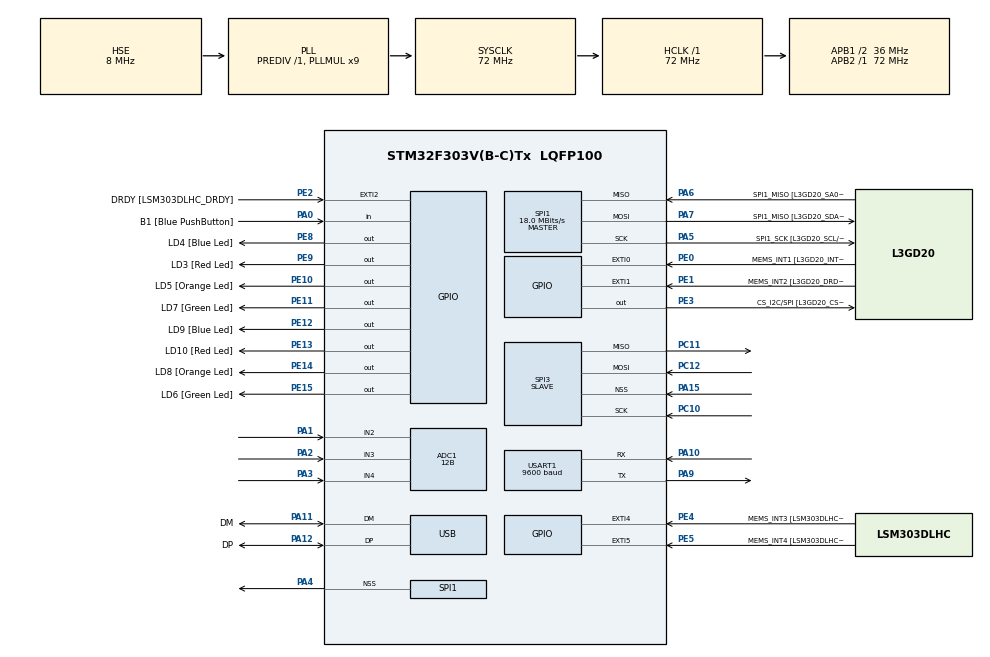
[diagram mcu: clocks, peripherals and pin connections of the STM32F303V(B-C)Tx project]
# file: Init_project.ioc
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ADC1.Channel-0\#ChannelRegularConversion=ADC_CHANNEL_2
ADC1.Channel-1\#ChannelRegularConversion=ADC_CHANNEL_3
ADC1.Channel-2\#ChannelRegularConversion=ADC_CHANNEL_4
ADC1.ClockPrescaler=ADC_CLOCK_ASYNC_DIV1
ADC1.ContinuousConvMode=DISABLE
ADC1.DMAContinuousRequests=DISABLE
ADC1.DataAlign=ADC_DATAALIGN_RIGHT
ADC1.DiscontinuousConvMode=DISABLE
ADC1.EOCSelection=ADC_EOC_SINGLE_CONV
ADC1.EnableAnalogWatchDog1=false
ADC1.EnableAnalogWatchDog2=false
ADC1.EnableAnalogWatchDog3=false
ADC1.EnableInjectedConversion=ENABLE
ADC1.EnableRegularConversion=ENABLE
ADC1.ExternalTrigConv=ADC_SOFTWARE_START
ADC1.ExternalTrigConvEdge=ADC_EXTERNALTRIGCONVEDGE_NONE
ADC1.InjNumberOfConversion=0
ADC1.LowPowerAutoWait=DISABLE
ADC1.NbrOfConversion=3
ADC1.NbrOfConversionFlag=1
ADC1.Offset-0\#ChannelRegularConversion=0
ADC1.Offset-1\#ChannelRegularConversion=0
ADC1.Offset-2\#ChannelRegularConversion=0
ADC1.OffsetNumber-0\#ChannelRegularConversion=ADC_OFFSET_NONE
ADC1.OffsetNumber-1\#ChannelRegularConversion=ADC_OFFSET_NONE
ADC1.OffsetNumber-2\#ChannelRegularConversion=ADC_OFFSET_NONE
ADC1.Overrun=ADC_OVR_DATA_OVERWRITTEN
ADC1.Rank-0\#ChannelRegularConversion=1
ADC1.Rank-1\#ChannelRegularConversion=2
ADC1.Rank-2\#ChannelRegularConversion=3
ADC1.Resolution=ADC_RESOLUTION_12B
ADC1.SamplingTime-0\#ChannelRegularConversion=ADC_SAMPLETIME_1CYCLE_5
ADC1.SamplingTime-1\#ChannelRegularConversion=ADC_SAMPLETIME_1CYCLE_5
ADC1.SamplingTime-2\#ChannelRegularConversion=ADC_SAMPLETIME_1CYCLE_5
ADC1.ScanConvMode=ADC_SCAN_ENABLE
ADC1.master=1
Dma.ADC1.2.Direction=DMA_PERIPH_TO_MEMORY
Dma.ADC1.2.Instance=DMA1_Channel1
Dma.ADC1.2.MemDataAlignment=DMA_MDATAALIGN_WORD
Dma.ADC1.2.MemInc=DMA_MINC_ENABLE
Dma.ADC1.2.Mode=DMA_CIRCULAR
Dma.ADC1.2.PeriphDataAlignment=DMA_PDATAALIGN_WORD
Dma.ADC1.2.PeriphInc=DMA_PINC_DISABLE
Dma.ADC1.2.Priority=DMA_PRIORITY_MEDIUM
Dma.Request0=USART1_TX
Dma.Request1=USART1_RX
Dma.Request2=ADC1
Dma.USART1_RX.1.Direction=DMA_PERIPH_TO_MEMORY
Dma.USART1_RX.1.Instance=DMA1_Channel5
Dma.USART1_RX.1.MemDataAlignment=DMA_MDATAALIGN_BYTE
Dma.USART1_RX.1.MemInc=DMA_MINC_ENABLE
Dma.USART1_RX.1.Mode=DMA_NORMAL
Dma.USART1_RX.1.PeriphDataAlignment=DMA_PDATAALIGN_BYTE
Dma.USART1_RX.1.PeriphInc=DMA_PINC_DISABLE
Dma.USART1_RX.1.Priority=DMA_PRIORITY_LOW
Dma.USART1_TX.0.Direction=DMA_MEMORY_TO_PERIPH
Dma.USART1_TX.0.Instance=DMA1_Channel4
Dma.USART1_TX.0.MemDataAlignment=DMA_MDATAALIGN_BYTE
Dma.USART1_TX.0.MemInc=DMA_MINC_ENABLE
Dma.USART1_TX.0.Mode=DMA_NORMAL
Dma.USART1_TX.0.PeriphDataAlignment=DMA_PDATAALIGN_BYTE
Dma.USART1_TX.0.PeriphInc=DMA_PINC_DISABLE
Dma.USART1_TX.0.Priority=DMA_PRIORITY_LOW
Mcu.Family=STM32F3
Mcu.Name=STM32F303V(B-C)Tx
Mcu.Package=LQFP100
NVIC.ADC1_2_IRQn=true\:0\:0\:false\:false\:true\:true
NVIC.DMA1_Channel1_IRQn=true\:0\:0\:false\:false\:true\:false
NVIC.DMA1_Channel4_IRQn=true\:0\:0\:false\:false\:true\:false
NVIC.DMA1_Channel5_IRQn=true\:0\:0\:false\:false\:true\:false
NVIC.PriorityGroup=NVIC_PRIORITYGROUP_4
NVIC.SPI1_IRQn=true\:0\:0\:false\:false\:true\:true
NVIC.SPI3_IRQn=true\:0\:0\:false\:false\:true\:true
NVIC.TIM2_IRQn=true\:0\:0\:false\:false\:true\:false
NVIC.TimeBase=TIM2_IRQn
NVIC.TimeBaseIP=TIM2
NVIC.USART1_IRQn=true\:0\:0\:false\:false\:true\:true
PA0.GPIO_Label=B1 [Blue PushButton]
PA0.Signal=GPIO_Input
PA1.Mode=IN2-Single-Ended
PA1.Signal=ADC1_IN2
PA10.Mode=Asynchronous
PA10.Signal=USART1_RX
PA11.GPIO_Label=DM
PA11.Mode=Device
PA11.Signal=USB_DM
PA12.GPIO_Label=DP
PA12.Mode=Device
PA12.Signal=USB_DP
PA13.GPIO_Label=SWDIO
PA13.Mode=Serial_Wire
PA13.Signal=SYS_JTMS-SWDIO
PA14.GPIO_Label=SWCLK
PA14.Mode=Serial_Wire
PA14.Signal=SYS_JTCK-SWCLK
PA15.Mode=NSS_Signal_Hard_Input
PA15.Signal=SPI3_NSS
PA2.Mode=IN3-Single-Ended
PA2.Signal=ADC1_IN3
PA3.Mode=IN4-Single-Ended
PA3.Signal=ADC1_IN4
PA4.Mode=NSS_Signal_Hard_Output
PA4.Signal=SPI1_NSS
PA5.GPIO_Label=SPI1_SCK [L3GD20_SCL/SPC]
PA5.Mode=Full_Duplex_Master
PA5.Signal=SPI1_SCK
PA6.GPIO_Label=SPI1_MISO [L3GD20_SA0/SDO]
PA6.Mode=Full_Duplex_Master
PA6.Signal=SPI1_MISO
PA7.GPIO_Label=SPI1_MISO [L3GD20_SDA/SDI/SDO]
PA7.Mode=Full_Duplex_Master
PA7.Signal=SPI1_MOSI
PA9.Mode=Asynchronous
PA9.Signal=USART1_TX
PB3.GPIO_Label=SWO
PB3.Signal=SYS_JTDO-TRACESWO
PC10.Mode=Full_Duplex_Slave
PC10.Signal=SPI3_SCK
PC11.Mode=Full_Duplex_Slave
PC11.Signal=SPI3_MISO
PC12.Mode=Full_Duplex_Slave
PC12.Signal=SPI3_MOSI
PC14-OSC32_IN.GPIO_Label=OSC32_IN
PC14-OSC32_IN.Signal=RCC_OSC32_IN
PC15-OSC32_OUT.GPIO_Label=OSC32_OUT
PC15-OSC32_OUT.Signal=RCC_OSC32_OUT
PE0.GPIO_Label=MEMS_INT1 [L3GD20_INT1]
PE0.GPIO_ModeDefaultEXTI=GPIO_MODE_EVT_RISING
PE0.Signal=GPXTI0
PE1.GPIO_Label=MEMS_INT2 [L3GD20_DRDY/INT2]
PE1.GPIO_ModeDefaultEXTI=GPIO_MODE_EVT_RISING
PE1.Signal=GPXTI1
PE10.GPIO_Label=LD5 [Orange Led]
PE10.Signal=GPIO_Output
PE11.GPIO_Label=LD7 [Green Led]
PE11.Signal=GPIO_Output
PE12.GPIO_Label=LD9 [Blue Led]
PE12.Signal=GPIO_Output
PE13.GPIO_Label=LD10 [Red Led]
PE13.Signal=GPIO_Output
PE14.GPIO_Label=LD8 [Orange Led]
PE14.Signal=GPIO_Output
PE15.GPIO_Label=LD6 [Green Led]
PE15.Signal=GPIO_Output
PE2.GPIO_Label=DRDY [LSM303DLHC_DRDY]
PE2.GPIO_ModeDefaultEXTI=GPIO_MODE_EVT_RISING
PE2.Signal=GPXTI2
PE3.GPIO_Label=CS_I2C/SPI [L3GD20_CS_I2C/SPI]
PE3.Signal=GPIO_Output
PE4.GPIO_Label=MEMS_INT3 [LSM303DLHC_INT1]
PE4.GPIO_ModeDefaultEXTI=GPIO_MODE_EVT_RISING
PE4.Signal=GPXTI4
PE5.GPIO_Label=MEMS_INT4 [LSM303DLHC_INT2]
PE5.GPIO_ModeDefaultEXTI=GPIO_MODE_EVT_RISING
PE5.Signal=GPXTI5
PE8.GPIO_Label=LD4 [Blue Led]
PE8.Signal=GPIO_Output
PE9.GPIO_Label=LD3 [Red Led]
PE9.Signal=GPIO_Output
PF0-OSC_IN.GPIO_Label=OSC_IN
PF0-OSC_IN.Mode=HSE-External-Clock-Source
PF0-OSC_IN.Signal=RCC_OSC_IN
PF1-OSC_OUT.GPIO_Label=OSC_OUT
PF1-OSC_OUT.Signal=RCC_OSC_OUT
ProjectManager.HeapSize=0x2000
ProjectManager.StackSize=0x4000
ProjectManager.TargetToolchain=MDK-ARM V5
RCC.AHBFreq_Value=72000000
RCC.APB1CLKDivider=RCC_HCLK_DIV2
RCC.APB1Freq_Value=36000000
RCC.APB1TimFreq_Value=72000000
RCC.APB2Freq_Value=72000000
RCC.APB2TimFreq_Value=72000000
RCC.CortexFreq_Value=72000000
RCC.HCLKFreq_Value=72000000
RCC.HSE_VALUE=8000000
RCC.HSI_VALUE=8000000
RCC.LSE_VALUE=32768
RCC.PLLMUL=RCC_PLL_MUL9
RCC.PRESCALERUSB=RCC_USBCLKSOURCE_PLL_DIV1_5
RCC.SYSCLKFreq_VALUE=72000000
RCC.SYSCLKSourceVirtual=RCC_SYSCLKSOURCE_PLLCLK
RCC.USBFreq_Value=48000000
SPI1.BaudRatePrescaler=SPI_BAUDRATEPRESCALER_4
SPI1.CalculateBaudRate=18.0 MBits/s
SPI1.Direction=SPI_DIRECTION_2LINES
SPI1.Mode=SPI_MODE_MASTER
SPI1.VirtualNSS=VM_NSSHARD
SPI1.VirtualType=VM_MASTER
SPI3.Direction=SPI_DIRECTION_2LINES
SPI3.Mode=SPI_MODE_SLAVE
SPI3.VirtualNSS=VM_NSSHARD
SPI3.VirtualType=VM_SLAVE
USART1.BaudRate=9600
USART1.VirtualMode-Asynchronous=VM_ASYNC
VP_SYS_VS_tim2.Mode=TIM2
board=STM32F3DISCOVERY

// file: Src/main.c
/**
  ******************************************************************************
  * @file           : main.c
  * @brief          : Main program body
  ******************************************************************************
  ** This notice applies to any and all portions of this file
  * that are not between comment pairs USER CODE BEGIN and
  * USER CODE END. Other portions of this file, whether
  * inserted by the user or by software development tools
  * are owned by their respective copyright owners.
  *
  * COPYRIGHT(c) 2018 STMicroelectronics
  *
  * Redistribution and use in source and binary forms, with or without modification,
  * are permitted provided that the following conditions are met:
  *   1. Redistributions of source code must retain the above copyright notice,
  *      this list of conditions and the following disclaimer.
  *   2. Redistributions in binary form must reproduce the above copyright notice,
  *      this list of conditions and the following disclaimer in the documentation
  *      and/or other materials provided with the distribution.
  *   3. Neither the name of STMicroelectronics nor the names of its contributors
  *      may be used to endorse or promote products derived from this software
  *      without specific prior written permission.
  *
  * THIS SOFTWARE IS PROVIDED BY THE COPYRIGHT HOLDERS AND CONTRIBUTORS "AS IS"
  * AND ANY EXPRESS OR IMPLIED WARRANTIES, INCLUDING, BUT NOT LIMITED TO, THE
  * IMPLIED WARRANTIES OF MERCHANTABILITY AND FITNESS FOR A PARTICULAR PURPOSE ARE
  * DISCLAIMED. IN NO EVENT SHALL THE COPYRIGHT HOLDER OR CONTRIBUTORS BE LIABLE
  * FOR ANY DIRECT, INDIRECT, INCIDENTAL, SPECIAL, EXEMPLARY, OR CONSEQUENTIAL
  * DAMAGES (INCLUDING, BUT NOT LIMITED TO, PROCUREMENT OF SUBSTITUTE GOODS OR
  * SERVICES; LOSS OF USE, DATA, OR PROFITS; OR BUSINESS INTERRUPTION) HOWEVER
  * CAUSED AND ON ANY THEORY OF LIABILITY, WHETHER IN CONTRACT, STRICT LIABILITY,
  * OR TORT (INCLUDING NEGLIGENCE OR OTHERWISE) ARISING IN ANY WAY OUT OF THE USE
  * OF THIS SOFTWARE, EVEN IF ADVISED OF THE POSSIBILITY OF SUCH DAMAGE.
  *
  ******************************************************************************
  */
#include "main.h"
#include "stm32f3xx_hal.h"

ADC_HandleTypeDef hadc1;
DMA_HandleTypeDef hdma_adc1;

SPI_HandleTypeDef hspi1;
SPI_HandleTypeDef hspi3;

UART_HandleTypeDef huart1;
DMA_HandleTypeDef hdma_usart1_tx;
DMA_HandleTypeDef hdma_usart1_rx;

PCD_HandleTypeDef hpcd_USB_FS;

/* USER CODE BEGIN PV */

/* Private variables ---------------------------------------------------------*/
#define str_length 			10
#define number_of_ADC_channels 3
#define set_SS_SPI3() 		HAL_GPIO_WritePin(GPIOA, GPIO_PIN_15, GPIO_PIN_RESET)
#define reset_SS_SPI3() 	HAL_GPIO_WritePin(GPIOA, GPIO_PIN_15, GPIO_PIN_SET)

uint8_t dataTx[str_length] = {10, 11, 12, 13, 14, 15, 16, 17, 18, 19};
uint8_t dataRx[str_length] = {0};
volatile uint32_t adc_data[number_of_ADC_channels] = {0};
volatile float adc_value[number_of_ADC_channels] = {0};
/* USER CODE END PV */

void SystemClock_Config(void);
static void MX_GPIO_Init(void);
static void MX_DMA_Init(void);
static void MX_SPI1_Init(void);
static void MX_USB_PCD_Init(void);
static void MX_USART1_UART_Init(void);
static void MX_SPI3_Init(void);
static void MX_ADC1_Init(void);

/* USER CODE BEGIN PFP */
/* Private function prototypes -----------------------------------------------*/

/* USER CODE END PFP */

int main(void)
{
  /* USER CODE BEGIN 1 */
	char  str[str_length] = {0};
  /* USER CODE END 1 */

  /* MCU Configuration----------------------------------------------------------*/

  /* Reset of all peripherals, Initializes the Flash interface and the Systick. */
  HAL_Init();

  /* Configure the system clock */
  SystemClock_Config();

  /* Initialize all configured peripherals */
  MX_GPIO_Init();
  MX_DMA_Init();
  MX_SPI1_Init();
  MX_USB_PCD_Init();
  MX_USART1_UART_Init();
  MX_SPI3_Init();
  MX_ADC1_Init();

  /* Infinite loop */
  /* USER CODE BEGIN WHILE */
	HAL_ADC_Start_DMA(&hadc1,(uint32_t*)&adc_data,3);  // Start and take value from ADC using DMA
	while (1)
  {

//		HAL_ADC_Start(&hadc1);		// start of analog-digital-conversion
//		HAL_ADC_PollForConversion(&hadc1, 100); // waiting for the ADC to complete
//		adc_value = (float)(HAL_ADC_GetValue(&hadc1)) * 3 / 4096; // take value from ADC and calculate 3V / 4096 => 3V/ 2^12
//		HAL_ADC_Stop (&hadc1);   // stop of analog-digital-conversion
//		HAL_ADC_Stop_DMA(&hadc1);	// stop ADC

		HAL_Delay(100);
		for (int i = 0; i < number_of_ADC_channels; i++)
		{
			adc_value[i] = adc_data[i] * 3.0 /4096;	// calculate 3V / 4096 => 3V/ 2^12
			sprintf(str,"%1.6f\r",adc_value[i]);
			HAL_UART_Transmit_DMA(&huart1, (uint8_t*)str, sizeof(str)-1);
			HAL_Delay(500);
		}

//		set_SS_SPI3();
//		HAL_SPI_Transmit_IT (&hspi1, (uint8_t *)dataTx, str_length);
//		HAL_SPI_Receive_IT(&hspi3,(uint8_t *)dataRx, str_length);
//
//		if (dataRx[0] != 0)
//		{
//			LED01ON();
//			HAL_Delay(100);
//			LED01OFF();
//		}
//			HAL_Delay(100);
//		reset_SS_SPI3();
  /* USER CODE END WHILE */

  /* USER CODE BEGIN 3 */

//		dataRx[0] = 0;
  }
  /* USER CODE END 3 */

}

void SystemClock_Config(void)
{

  RCC_OscInitTypeDef RCC_OscInitStruct;
  RCC_ClkInitTypeDef RCC_ClkInitStruct;
  RCC_PeriphCLKInitTypeDef PeriphClkInit;

    /**Initializes the CPU, AHB and APB busses clocks
    */
  RCC_OscInitStruct.OscillatorType = RCC_OSCILLATORTYPE_HSE;
  RCC_OscInitStruct.HSEState = RCC_HSE_BYPASS;
  RCC_OscInitStruct.HSEPredivValue = RCC_HSE_PREDIV_DIV1;
  RCC_OscInitStruct.HSIState = RCC_HSI_ON;
  RCC_OscInitStruct.PLL.PLLState = RCC_PLL_ON;
  RCC_OscInitStruct.PLL.PLLSource = RCC_PLLSOURCE_HSE;
  RCC_OscInitStruct.PLL.PLLMUL = RCC_PLL_MUL9;
  if (HAL_RCC_OscConfig(&RCC_OscInitStruct) != HAL_OK)
  {
    _Error_Handler(__FILE__, __LINE__);
  }

    /**Initializes the CPU, AHB and APB busses clocks
    */
  RCC_ClkInitStruct.ClockType = RCC_CLOCKTYPE_HCLK|RCC_CLOCKTYPE_SYSCLK
                              |RCC_CLOCKTYPE_PCLK1|RCC_CLOCKTYPE_PCLK2;
  RCC_ClkInitStruct.SYSCLKSource = RCC_SYSCLKSOURCE_PLLCLK;
  RCC_ClkInitStruct.AHBCLKDivider = RCC_SYSCLK_DIV1;
  RCC_ClkInitStruct.APB1CLKDivider = RCC_HCLK_DIV2;
  RCC_ClkInitStruct.APB2CLKDivider = RCC_HCLK_DIV1;

  if (HAL_RCC_ClockConfig(&RCC_ClkInitStruct, FLASH_LATENCY_2) != HAL_OK)
  {
    _Error_Handler(__FILE__, __LINE__);
  }

  PeriphClkInit.PeriphClockSelection = RCC_PERIPHCLK_USB|RCC_PERIPHCLK_USART1
                              |RCC_PERIPHCLK_ADC12;
  PeriphClkInit.Usart1ClockSelection = RCC_USART1CLKSOURCE_PCLK2;
  PeriphClkInit.Adc12ClockSelection = RCC_ADC12PLLCLK_DIV1;
  PeriphClkInit.USBClockSelection = RCC_USBCLKSOURCE_PLL_DIV1_5;
  if (HAL_RCCEx_PeriphCLKConfig(&PeriphClkInit) != HAL_OK)
  {
    _Error_Handler(__FILE__, __LINE__);
  }

    /**Configure the Systick interrupt time
    */
  HAL_SYSTICK_Config(HAL_RCC_GetHCLKFreq()/1000);

    /**Configure the Systick
    */
  HAL_SYSTICK_CLKSourceConfig(SYSTICK_CLKSOURCE_HCLK);

  /* SysTick_IRQn interrupt configuration */
  HAL_NVIC_SetPriority(SysTick_IRQn, 0, 0);
}

/* ADC1 init function */
static void MX_ADC1_Init(void)
{

  ADC_MultiModeTypeDef multimode;
  ADC_ChannelConfTypeDef sConfig;

    /**Common config
    */
  hadc1.Instance = ADC1;
  hadc1.Init.ClockPrescaler = ADC_CLOCK_ASYNC_DIV1;
  hadc1.Init.Resolution = ADC_RESOLUTION_12B;
  hadc1.Init.ScanConvMode = ADC_SCAN_ENABLE;
  hadc1.Init.ContinuousConvMode = DISABLE;
  hadc1.Init.DiscontinuousConvMode = DISABLE;
  hadc1.Init.ExternalTrigConvEdge = ADC_EXTERNALTRIGCONVEDGE_NONE;
  hadc1.Init.ExternalTrigConv = ADC_SOFTWARE_START;
  hadc1.Init.DataAlign = ADC_DATAALIGN_RIGHT;
  hadc1.Init.NbrOfConversion = 3;
  hadc1.Init.DMAContinuousRequests = DISABLE;
  hadc1.Init.EOCSelection = ADC_EOC_SINGLE_CONV;
  hadc1.Init.LowPowerAutoWait = DISABLE;
  hadc1.Init.Overrun = ADC_OVR_DATA_OVERWRITTEN;
  if (HAL_ADC_Init(&hadc1) != HAL_OK)
  {
    _Error_Handler(__FILE__, __LINE__);
  }

    /**Configure the ADC multi-mode
    */
  multimode.Mode = ADC_MODE_INDEPENDENT;
  if (HAL_ADCEx_MultiModeConfigChannel(&hadc1, &multimode) != HAL_OK)
  {
    _Error_Handler(__FILE__, __LINE__);
  }

    /**Configure Regular Channel
    */
  sConfig.Channel = ADC_CHANNEL_2;
  sConfig.Rank = ADC_REGULAR_RANK_1;
  sConfig.SingleDiff = ADC_SINGLE_ENDED;
  sConfig.SamplingTime = ADC_SAMPLETIME_1CYCLE_5;
  sConfig.OffsetNumber = ADC_OFFSET_NONE;
  sConfig.Offset = 0;
  if (HAL_ADC_ConfigChannel(&hadc1, &sConfig) != HAL_OK)
  {
    _Error_Handler(__FILE__, __LINE__);
  }

    /**Configure Regular Channel
    */
  sConfig.Channel = ADC_CHANNEL_3;
  sConfig.Rank = ADC_REGULAR_RANK_2;
  if (HAL_ADC_ConfigChannel(&hadc1, &sConfig) != HAL_OK)
  {
    _Error_Handler(__FILE__, __LINE__);
  }

    /**Configure Regular Channel
    */
  sConfig.Channel = ADC_CHANNEL_4;
  sConfig.Rank = ADC_REGULAR_RANK_3;
  if (HAL_ADC_ConfigChannel(&hadc1, &sConfig) != HAL_OK)
  {
    _Error_Handler(__FILE__, __LINE__);
  }

}

/* SPI1 init function */
static void MX_SPI1_Init(void)
{

  /* SPI1 parameter configuration*/
  hspi1.Instance = SPI1;
  hspi1.Init.Mode = SPI_MODE_MASTER;
  hspi1.Init.Direction = SPI_DIRECTION_2LINES;
  hspi1.Init.DataSize = SPI_DATASIZE_4BIT;
  hspi1.Init.CLKPolarity = SPI_POLARITY_LOW;
  hspi1.Init.CLKPhase = SPI_PHASE_1EDGE;
  hspi1.Init.NSS = SPI_NSS_HARD_OUTPUT;
  hspi1.Init.BaudRatePrescaler = SPI_BAUDRATEPRESCALER_4;
  hspi1.Init.FirstBit = SPI_FIRSTBIT_MSB;
  hspi1.Init.TIMode = SPI_TIMODE_DISABLE;
  hspi1.Init.CRCCalculation = SPI_CRCCALCULATION_DISABLE;
  hspi1.Init.CRCPolynomial = 7;
  hspi1.Init.CRCLength = SPI_CRC_LENGTH_DATASIZE;
  hspi1.Init.NSSPMode = SPI_NSS_PULSE_ENABLE;
  if (HAL_SPI_Init(&hspi1) != HAL_OK)
  {
    _Error_Handler(__FILE__, __LINE__);
  }

}

/* SPI3 init function */
static void MX_SPI3_Init(void)
{

  /* SPI3 parameter configuration*/
  hspi3.Instance = SPI3;
  hspi3.Init.Mode = SPI_MODE_SLAVE;
  hspi3.Init.Direction = SPI_DIRECTION_2LINES;
  hspi3.Init.DataSize = SPI_DATASIZE_4BIT;
  hspi3.Init.CLKPolarity = SPI_POLARITY_LOW;
  hspi3.Init.CLKPhase = SPI_PHASE_1EDGE;
  hspi3.Init.NSS = SPI_NSS_HARD_INPUT;
  hspi3.Init.FirstBit = SPI_FIRSTBIT_MSB;
  hspi3.Init.TIMode = SPI_TIMODE_DISABLE;
  hspi3.Init.CRCCalculation = SPI_CRCCALCULATION_DISABLE;
  hspi3.Init.CRCPolynomial = 7;
  hspi3.Init.CRCLength = SPI_CRC_LENGTH_DATASIZE;
  hspi3.Init.NSSPMode = SPI_NSS_PULSE_DISABLE;
  if (HAL_SPI_Init(&hspi3) != HAL_OK)
  {
    _Error_Handler(__FILE__, __LINE__);
  }

}

/* USART1 init function */
static void MX_USART1_UART_Init(void)
{

  huart1.Instance = USART1;
  huart1.Init.BaudRate = 9600;
  huart1.Init.WordLength = UART_WORDLENGTH_8B;
  huart1.Init.StopBits = UART_STOPBITS_1;
  huart1.Init.Parity = UART_PARITY_NONE;
  huart1.Init.Mode = UART_MODE_TX_RX;
  huart1.Init.HwFlowCtl = UART_HWCONTROL_NONE;
  huart1.Init.OverSampling = UART_OVERSAMPLING_16;
  huart1.Init.OneBitSampling = UART_ONE_BIT_SAMPLE_DISABLE;
  huart1.AdvancedInit.AdvFeatureInit = UART_ADVFEATURE_NO_INIT;
  if (HAL_UART_Init(&huart1) != HAL_OK)
  {
    _Error_Handler(__FILE__, __LINE__);
  }

}

/* USB init function */
static void MX_USB_PCD_Init(void)
{

  hpcd_USB_FS.Instance = USB;
  hpcd_USB_FS.Init.dev_endpoints = 8;
  hpcd_USB_FS.Init.speed = PCD_SPEED_FULL;
  hpcd_USB_FS.Init.ep0_mps = DEP0CTL_MPS_64;
  hpcd_USB_FS.Init.phy_itface = PCD_PHY_EMBEDDED;
  hpcd_USB_FS.Init.low_power_enable = DISABLE;
  hpcd_USB_FS.Init.battery_charging_enable = DISABLE;
  if (HAL_PCD_Init(&hpcd_USB_FS) != HAL_OK)
  {
    _Error_Handler(__FILE__, __LINE__);
  }

}

static void MX_DMA_Init(void)
{
  /* DMA controller clock enable */
  __HAL_RCC_DMA1_CLK_ENABLE();

  /* DMA interrupt init */
  /* DMA1_Channel1_IRQn interrupt configuration */
  HAL_NVIC_SetPriority(DMA1_Channel1_IRQn, 0, 0);
  HAL_NVIC_EnableIRQ(DMA1_Channel1_IRQn);
  /* DMA1_Channel4_IRQn interrupt configuration */
  HAL_NVIC_SetPriority(DMA1_Channel4_IRQn, 0, 0);
  HAL_NVIC_EnableIRQ(DMA1_Channel4_IRQn);
  /* DMA1_Channel5_IRQn interrupt configuration */
  HAL_NVIC_SetPriority(DMA1_Channel5_IRQn, 0, 0);
  HAL_NVIC_EnableIRQ(DMA1_Channel5_IRQn);

}

/** Configure pins as
        * Analog
        * Input
        * Output
        * EVENT_OUT
        * EXTI
*/
static void MX_GPIO_Init(void)
{

  GPIO_InitTypeDef GPIO_InitStruct;

  /* GPIO Ports Clock Enable */
  __HAL_RCC_GPIOE_CLK_ENABLE();
  __HAL_RCC_GPIOC_CLK_ENABLE();
  __HAL_RCC_GPIOF_CLK_ENABLE();
  __HAL_RCC_GPIOA_CLK_ENABLE();
  __HAL_RCC_GPIOB_CLK_ENABLE();

  /*Configure GPIO pin Output Level */
  HAL_GPIO_WritePin(GPIOE, CS_I2C_SPI_Pin|LD4_Pin|LD3_Pin|LD5_Pin
                          |LD7_Pin|LD9_Pin|LD10_Pin|LD8_Pin
                          |LD6_Pin, GPIO_PIN_RESET);

  /*Configure GPIO pins : DRDY_Pin MEMS_INT3_Pin MEMS_INT4_Pin MEMS_INT1_Pin
                           MEMS_INT2_Pin */
  GPIO_InitStruct.Pin = DRDY_Pin|MEMS_INT3_Pin|MEMS_INT4_Pin|MEMS_INT1_Pin
                          |MEMS_INT2_Pin;
  GPIO_InitStruct.Mode = GPIO_MODE_EVT_RISING;
  GPIO_InitStruct.Pull = GPIO_NOPULL;
  HAL_GPIO_Init(GPIOE, &GPIO_InitStruct);

  /*Configure GPIO pins : CS_I2C_SPI_Pin LD4_Pin LD3_Pin LD5_Pin
                           LD7_Pin LD9_Pin LD10_Pin LD8_Pin
                           LD6_Pin */
  GPIO_InitStruct.Pin = CS_I2C_SPI_Pin|LD4_Pin|LD3_Pin|LD5_Pin
                          |LD7_Pin|LD9_Pin|LD10_Pin|LD8_Pin
                          |LD6_Pin;
  GPIO_InitStruct.Mode = GPIO_MODE_OUTPUT_PP;
  GPIO_InitStruct.Pull = GPIO_NOPULL;
  GPIO_InitStruct.Speed = GPIO_SPEED_FREQ_LOW;
  HAL_GPIO_Init(GPIOE, &GPIO_InitStruct);

  /*Configure GPIO pin : B1_Pin */
  GPIO_InitStruct.Pin = B1_Pin;
  GPIO_InitStruct.Mode = GPIO_MODE_INPUT;
  GPIO_InitStruct.Pull = GPIO_NOPULL;
  HAL_GPIO_Init(B1_GPIO_Port, &GPIO_InitStruct);

}

/* USER CODE BEGIN 4 */
//	void HAL_SPI_RxCpltCallback(SPI_HandleTypeDef *hspi)
//	{
//		if(hspi -> Instance == hspi3.Instance)
//		{
//			HAL_SPI_Receive_IT(&hspi3,(uint8_t *)dataRx, str_length);
//		}
//	}
/* USER CODE END 4 */

void HAL_TIM_PeriodElapsedCallback(TIM_HandleTypeDef *htim)
{
  if (htim->Instance == TIM2) {
    HAL_IncTick();
  }
}

void _Error_Handler(char *file, int line)
{
  while(1)
  {
  }
}

/************************ (C) COPYRIGHT STMicroelectronics *****END OF FILE****/
